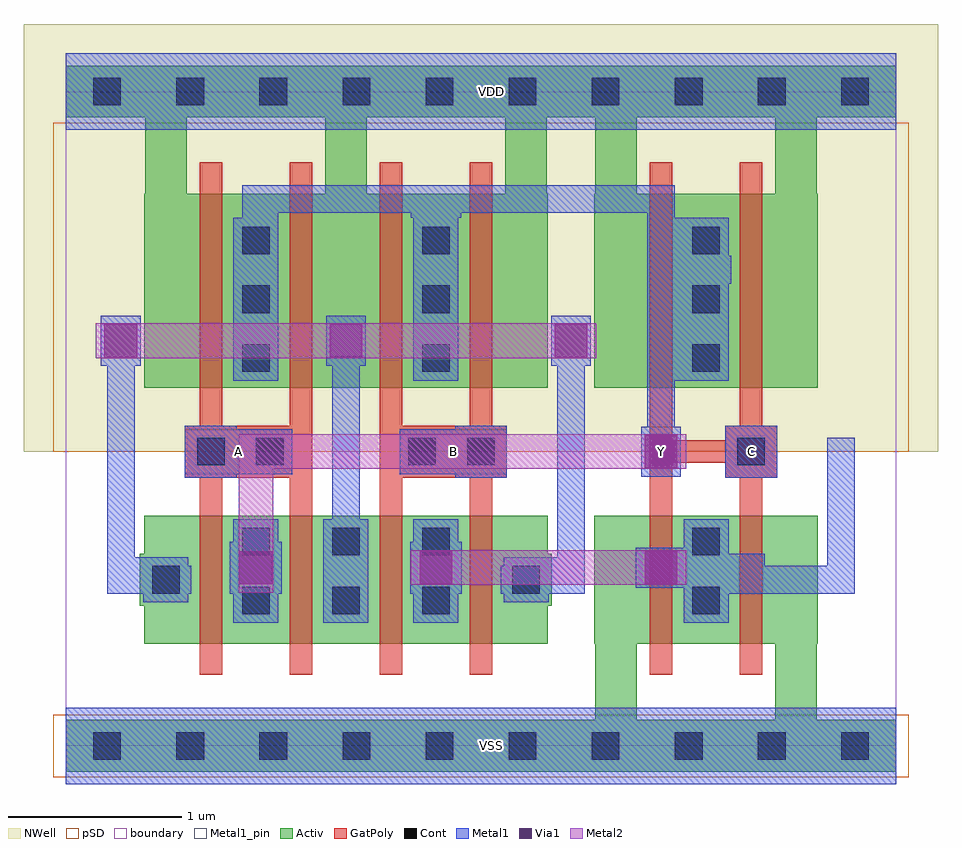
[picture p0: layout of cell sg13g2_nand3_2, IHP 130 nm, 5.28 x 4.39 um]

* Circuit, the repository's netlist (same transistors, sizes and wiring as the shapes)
.SUBCKT sg13g2_nand3_2 Y A B C VDD VSS
*.PININFO A:I B:I C:I Y:O VDD:B VSS:B
MP0 Y A VDD VDD sg13_lv_pmos w=2.24u l=130.00n ng=2
MP1 Y B VDD VDD sg13_lv_pmos w=2.24u l=130.00n ng=2
MP2 Y C VDD VDD sg13_lv_pmos w=2.24u l=130.00n ng=2
MN1 net2 B net3 VSS sg13_lv_nmos w=1.48u l=130.00n ng=2
MN2 net3 C VSS VSS sg13_lv_nmos w=1.48u l=130.00n ng=2
MN0 Y A net2 VSS sg13_lv_nmos w=1.48u l=130.00n ng=2
.ENDS

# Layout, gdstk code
import gdstk
lib = gdstk.Library(unit=1e-6, precision=1e-09)
def R(c, l, rs):  # rectangles x0, y0, x1, y1
    for r in rs: c.add(gdstk.rectangle(r[:2], r[2:], *l))
def A(c, l, x, y, w, h, nx, ny, dx, dy):  # array of equal rectangles
    R(c, l, [(x+i*dx, y+j*dy, x+i*dx+w, y+j*dy+h) for i in range(nx) for j in range(ny)])
def P(c, l, *ps):  # polygons
    for p in ps: c.add(gdstk.Polygon(p, *l))
Activ = (1, 0)
GatPoly = (5, 0)
Cont = (6, 0)
Metal1 = (8, 0)
Metal1_pin = (8, 2)
Metal2 = (10, 0)
pSD = (14, 0)
Via1 = (19, 0)
NWell = (31, 0)
boundary = (189, 4)

sg13g2_nand3_2 = lib.new_cell('sg13g2_nand3_2')
P(sg13g2_nand3_2, Activ, [(3.06,0.15),(0,0.15),(0,-0.15),(4.8,-0.15),(4.8,0.15),(3.06,0.15),(3.3,0.15),(3.3,0.59),(4.1,0.59),(4.1,0.15),(4.34,0.15),(4.34,0.59),(4.345,0.59),(4.345,1.33),(3.055,1.33),(3.055,0.59),(3.06,0.59)],
  [(3.3,3.63),(3.3,3.93),(1.74,3.93),(1.74,3.63),(1.74,3.93),(0.7,3.93),(0.7,3.63),(0.7,3.93),(0,3.93),(0,3.63),(0.46,3.63),(0.46,3.19),(0.455,3.19),(0.455,2.07),(0.7,2.07),(0.7,3.63),(1.5,3.63),(1.5,3.19),(0.7,3.19),(0.7,2.07),(1.74,2.07),(1.74,3.63),(2.54,3.63),(2.54,3.19),(1.74,3.19),(1.74,2.07),(2.785,2.07),(2.785,3.19),(2.78,3.19),(2.78,3.63),(3.06,3.63),(3.06,3.19),(3.055,3.19),(3.055,2.07),(3.3,2.07),(3.3,3.63),(4.1,3.63),(4.1,3.19),(3.3,3.19),(3.3,2.07),(4.345,2.07),(4.345,3.19),(4.34,3.19),(4.34,3.63),(4.8,3.63),(4.8,3.93),(3.3,3.93)],
  [(0.43,0.81),(0.455,0.81),(0.455,0.59),(2.785,0.59),(2.785,0.81),(2.81,0.81),(2.81,1.11),(2.785,1.11),(2.785,1.33),(0.455,1.33),(0.455,1.11),(0.43,1.11)])
P(sg13g2_nand3_2, GatPoly, [(0.69,1.55),(0.775,1.55),(0.775,0.41),(0.905,0.41),(0.905,1.55),(1.295,1.55),(1.295,0.41),(1.425,0.41),(1.425,3.37),(1.295,3.37),(1.295,1.85),(0.905,1.85),(0.905,3.37),(0.775,3.37),(0.775,1.85),(0.69,1.85)],
  [(1.815,0.41),(1.945,0.41),(1.945,1.55),(2.335,1.55),(2.335,0.41),(2.465,0.41),(2.465,1.55),(2.55,1.55),(2.55,1.85),(2.465,1.85),(2.465,3.37),(2.335,3.37),(2.335,1.85),(1.945,1.85),(1.945,3.37),(1.815,3.37)],
  [(3.375,0.41),(3.505,0.41),(3.505,1.635),(3.81,1.635),(3.81,1.55),(3.895,1.55),(3.895,0.41),(4.025,0.41),(4.025,1.55),(4.11,1.55),(4.11,1.85),(4.025,1.85),(4.025,3.37),(3.895,3.37),(3.895,1.85),(3.81,1.85),(3.81,1.765),(3.505,1.765),(3.505,3.37),(3.375,3.37)])
A(sg13g2_nand3_2, Cont, 0.16, -0.08, 0.16, 0.16, 10, 2, 0.48, 3.78)
A(sg13g2_nand3_2, Cont, 1.02, 0.76, 0.16, 0.16, 3, 2, 0.52, 0.34)
A(sg13g2_nand3_2, Cont, 1.02, 2.16, 0.16, 0.16, 1, 3, 0, 0.34)
A(sg13g2_nand3_2, Cont, 2.06, 2.16, 0.16, 0.16, 1, 3, 0, 0.34)
A(sg13g2_nand3_2, Cont, 3.62, 2.16, 0.16, 0.16, 1, 3, 0, 0.34)
R(sg13g2_nand3_2, Cont, [(3.62,0.76,3.78,0.92), (0.5,0.88,0.66,1.04), (2.58,0.88,2.74,1.04), (3.62,1.1,3.78,1.26), (0.76,1.62,0.92,1.78), (1.1,1.62,1.26,1.78), (1.98,1.62,2.14,1.78), (2.32,1.62,2.48,1.78), (3.88,1.62,4.04,1.78)])
R(sg13g2_nand3_2, Metal1, [(0,-0.22,4.8,0.22), (3.81,1.55,4.11,1.85), (0,3.56,4.8,4)])
P(sg13g2_nand3_2, Metal1, [(0.205,2.195),(0.24,2.195),(0.24,0.88),(0.45,0.88),(0.45,0.83),(0.71,0.83),(0.71,0.88),(0.725,0.88),(0.725,1.04),(0.71,1.04),(0.71,1.09),(0.4,1.09),(0.4,2.195),(0.435,2.195),(0.435,2.485),(0.205,2.485)],
  [(0.69,1.55),(0.99,1.55),(0.99,1.57),(1.31,1.57),(1.31,1.83),(0.99,1.83),(0.99,1.85),(0.69,1.85)],
  [(0.95,0.88),(0.97,0.88),(0.97,0.71),(1.23,0.71),(1.23,0.88),(1.25,0.88),(1.25,1.18),(1.23,1.18),(1.23,1.31),(0.97,1.31),(0.97,1.18),(0.95,1.18)],
  [(0.97,2.11),(1.23,2.11),(1.23,3.08),(1.995,3.08),(1.995,3.05),(2.01,3.05),(2.01,2.11),(2.27,2.11),(2.27,3.05),(2.285,3.05),(2.285,3.08),(3.36,3.08),(3.36,1.845),(3.325,1.845),(3.325,1.555),(3.555,1.555),(3.555,1.845),(3.52,1.845),(3.52,2.11),(3.83,2.11),(3.83,2.67),(3.845,2.67),(3.845,2.83),(3.83,2.83),(3.83,3.05),(3.52,3.05),(3.52,3.24),(1.02,3.24),(1.02,3.05),(0.97,3.05)],
  [(1.49,0.71),(1.75,0.71),(1.75,1.31),(1.7,1.31),(1.7,2.195),(1.735,2.195),(1.735,2.485),(1.505,2.485),(1.505,2.195),(1.54,2.195),(1.54,1.31),(1.49,1.31)],
  [(1.93,1.57),(2.25,1.57),(2.25,1.55),(2.55,1.55),(2.55,1.85),(2.25,1.85),(2.25,1.83),(1.93,1.83)],
  [(1.99,0.88),(2.01,0.88),(2.01,0.71),(2.27,0.71),(2.27,0.88),(2.29,0.88),(2.29,1.18),(2.27,1.18),(2.27,1.31),(2.01,1.31),(2.01,1.18),(1.99,1.18)],
  [(2.515,0.88),(2.53,0.88),(2.53,0.83),(2.79,0.83),(2.79,0.88),(3,0.88),(3,2.195),(3.035,2.195),(3.035,2.485),(2.805,2.485),(2.805,2.195),(2.84,2.195),(2.84,1.09),(2.53,1.09),(2.53,1.04),(2.515,1.04)],
  [(3.295,0.915),(3.57,0.915),(3.57,0.71),(3.83,0.71),(3.83,0.88),(4.56,0.88),(4.56,1.78),(4.4,1.78),(4.4,1.04),(4.04,1.04),(4.04,1.11),(3.83,1.11),(3.83,1.31),(3.57,1.31),(3.57,1.145),(3.295,1.145)])
R(sg13g2_nand3_2, Metal1_pin, [(0,-0.22,4.8,0.22), (3.81,1.55,4.11,1.85), (3.325,1.555,3.555,1.845), (0.69,1.57,1.31,1.83), (1.93,1.57,2.55,1.83), (0,3.56,4.8,4)])
R(sg13g2_nand3_2, Metal2, [(1.995,0.93,3.585,1.13), (0.175,2.24,3.065,2.44)])
P(sg13g2_nand3_2, Metal2, [(1,0.885),(1.2,0.885),(1.2,1.6),(3.585,1.6),(3.585,1.8),(1,1.8)])
R(sg13g2_nand3_2, pSD, [(-0.07,-0.18,4.87,0.18), (-0.07,1.7,4.87,3.6)])
A(sg13g2_nand3_2, Via1, 0.225, 2.245, 0.19, 0.19, 3, 1, 1.3, 0)
R(sg13g2_nand3_2, Via1, [(1.005,0.935,1.195,1.125), (2.045,0.935,2.235,1.125), (3.345,0.935,3.535,1.125), (3.345,1.605,3.535,1.795)])
R(sg13g2_nand3_2, NWell, [(-0.24,1.7,5.04,4.17)])
R(sg13g2_nand3_2, boundary, [(0,0,4.8,3.78)])
sg13g2_nand3_2.add(gdstk.Label('A', (1,1.7), layer=8, texttype=25))
sg13g2_nand3_2.add(gdstk.Label('Y', (3.44,1.7), layer=8, texttype=25))
sg13g2_nand3_2.add(gdstk.Label('B', (2.24,1.7), layer=8, texttype=25))
sg13g2_nand3_2.add(gdstk.Label('C', (3.96,1.7), layer=8, texttype=25))
sg13g2_nand3_2.add(gdstk.Label('VSS', (2.46,0), layer=8, texttype=25))
sg13g2_nand3_2.add(gdstk.Label('VDD', (2.46,3.78), layer=8, texttype=25))

lib.write_gds('sg13g2_nand3_2.gds')
